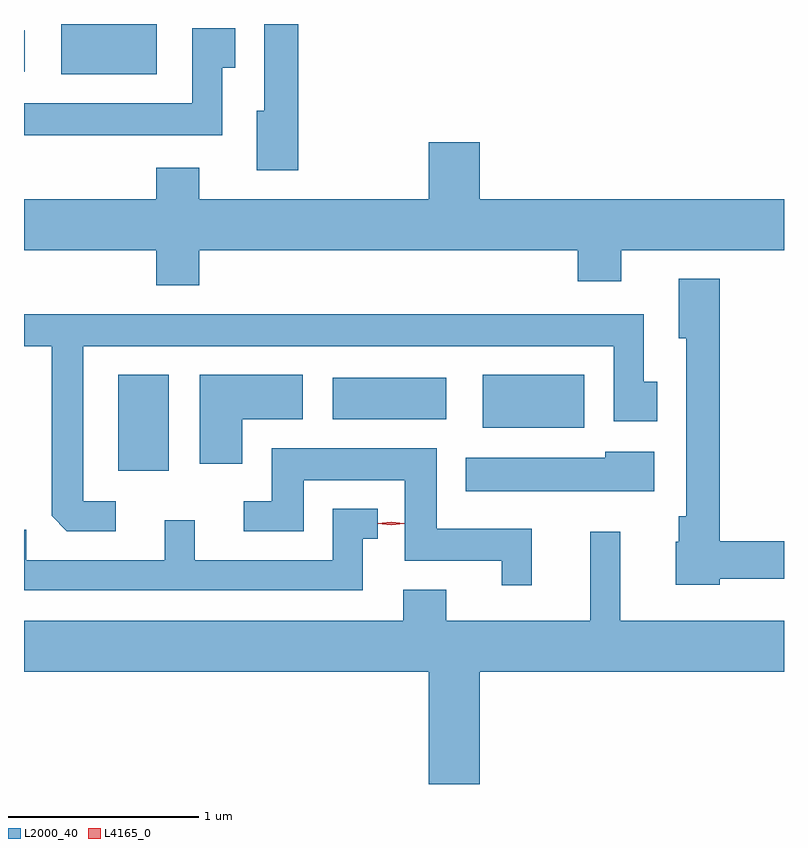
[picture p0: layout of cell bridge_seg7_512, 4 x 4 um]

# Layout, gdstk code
import gdstk
lib = gdstk.Library(unit=1e-6, precision=1e-09)
def R(c, l, rs):  # rectangles x0, y0, x1, y1
    for r in rs: c.add(gdstk.rectangle(r[:2], r[2:], *l))
def P(c, l, *ps):  # polygons
    for p in ps: c.add(gdstk.Polygon(p, *l))
L2000_40 = (2000, 40)
L4165_0 = (4165, 0)

bridge_seg7_512 = lib.new_cell('bridge_seg7_512')
R(bridge_seg7_512, L2000_40, [(852.801,1781.976,853.069,1782.479), (854.721,1782.201,855.254,1782.479), (853.931,1782.246,854.529,1782.464), (852.501,1784.061,853.004,1784.326), (852.306,1784.076,852.309,1784.294)])
P(bridge_seg7_512, L2000_40, [(853.749,1784.326),(853.571,1784.326),(853.571,1783.869),(853.531,1783.869),(853.531,1783.556),(853.749,1783.556)],
  [(853.349,1784.096),(853.419,1784.096),(853.419,1784.304),(853.191,1784.304),(853.191,1783.909),(852.306,1783.909),(852.306,1783.741),(853.349,1783.741)],
  [(853.229,1783.136),(855.221,1783.136),(855.221,1782.971),(855.449,1782.971),(855.449,1783.136),(856.306,1783.136),(856.306,1783.404),(854.704,1783.404),(854.704,1783.704),(854.436,1783.704),(854.436,1783.404),(853.229,1783.404),(853.229,1783.569),(853.001,1783.569),(853.001,1783.404),(852.306,1783.404),(852.306,1783.136),(853.001,1783.136),(853.001,1782.951),(853.229,1782.951)],
  [(855.969,1781.406),(856.306,1781.406),(856.306,1781.604),(855.969,1781.604),(855.969,1782.984),(855.751,1782.984),(855.751,1782.671),(855.791,1782.671),(855.791,1781.734),(855.751,1781.734),(855.751,1781.6),(855.736,1781.6),(855.736,1781.376),(855.969,1781.376)],
  [(852.788,1781.814),(852.619,1781.814),(852.619,1782.631),(855.411,1782.631),(855.411,1782.236),(855.639,1782.236),(855.639,1782.444),(855.569,1782.444),(855.569,1782.799),(852.306,1782.799),(852.306,1782.631),(852.451,1782.631),(852.451,1781.737),(852.532,1781.656),(852.788,1781.656)],
  [(853.454,1782.246),(853.774,1782.246),(853.774,1782.479),(853.231,1782.479),(853.231,1782.011),(853.454,1782.011)],
  [(854.979,1781.669),(854.479,1781.669),(854.479,1782.094),(853.611,1782.094),(853.611,1781.814),(853.463,1781.814),(853.463,1781.656),(853.779,1781.656),(853.779,1781.926),(854.311,1781.926),(854.311,1781.501),(854.821,1781.501),(854.821,1781.373),(854.979,1781.373)],
  [(855.624,1782.074),(855.366,1782.074),(855.366,1782.044),(854.631,1782.044),(854.631,1781.866),(855.624,1781.866)],
  [(854.089,1781.616),(854.168,1781.616),(854.168,1781.774),(853.931,1781.774),(853.931,1781.504),(853.204,1781.504),(853.204,1781.713),(853.046,1781.713),(853.046,1781.504),(852.319,1781.504),(852.319,1781.664),(852.306,1781.664),(852.306,1781.346),(854.089,1781.346)],
  [(854.704,1780.916),(856.306,1780.916),(856.306,1781.184),(855.444,1781.184),(855.444,1781.653),(855.286,1781.653),(855.286,1781.184),(854.529,1781.184),(854.529,1781.349),(854.301,1781.349),(854.301,1781.184),(852.306,1781.184),(852.306,1780.916),(854.436,1780.916),(854.436,1780.326),(854.704,1780.326)])
P(bridge_seg7_512, L4165_0, [(854.238,1781.688),(854.169,1781.697),(854.169,1781.697),(854.169,1781.698),(854.238,1781.707),(854.308,1781.698),(854.308,1781.698),(854.308,1781.697)])

lib.write_gds('bridge_seg7_512.gds')
